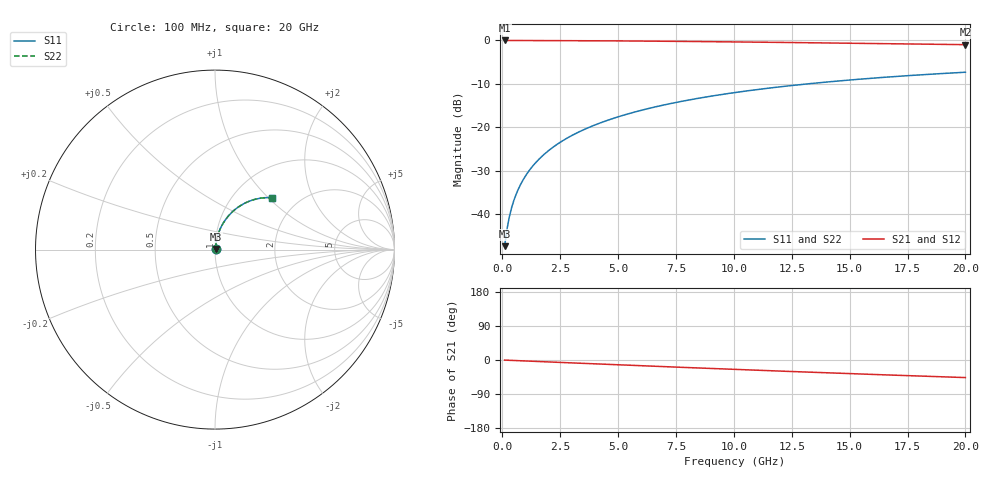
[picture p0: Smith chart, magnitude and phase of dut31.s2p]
! Touchstone file exported from HFSS 2026.1.0
!  File:  C:/ffzhzh/LocalFiles/Ansys_Project_Files/temp_train_BSMRDL_31_1782882198_42304.aedt
!  Generated:  01:04:31 PM Jul  1, 2026
!  Design:  BSMRDL
!  Project:  temp_train_BSMRDL_31_1782882198_42304
! Variables:
!  h_bsmrdl = 3.46um
!  h_ox = 20um
!  h_rdl = 5um
!  h_sub = 80um
!  h_tmrdl = 5um
!  h_tsv = 80um
!  h_via = 3um
!  l_bsmrdl = 671.32um
!  l_sub = 1071.32um
!  l_tmrdl = 200um
!  m_sub = 200um
!  pitch = 54.26um
!  r_tsv = 6um
!  s_tmrdl = 10um
!  w_bsmrdl = 23.3um
!  w_sub = 500um
!  w_tmrdl = 12um
!  x_tsv_center1 = 206um
!  x_tsv_center2 = 900.62um
!  x_tsv_center3 = 1112.62um
!  x_tsv_center4 = 1807.24um
!  x_tsv_center5 = 2019.24um
!  x_tsv_center6 = 2713.86um
# GHz S MA R 50.000000
! Terminal data exported
! Port[1] = BSM_RDL1_1_T1
! Port[2] = BSM_RDL1_1_T2
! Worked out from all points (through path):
!   200 points, 100 MHz to 20 GHz, reference 50 ohm
!   highest |S21| = -0.03 dB at 100 MHz (marker M1); lowest = -1.0 dB at 20 GHz (marker M2)
!   group delay of S21, straight-line fit = 6.45 ps
!   lowest |S11| = -47.3 dB at 100 MHz (marker M3), VSWR 1.01, Z = 50.3 + j0.295 ohm
!   |S11| at or under -10 dB: start of sweep to 13.19 GHz
!   |S22| runs from -47.3 to -7.3 dB; largest |S21 - S12| = 3.8e-15
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0.1  0.004315 42.8  0.9968 -0.3  0.9968 -0.3  0.004315 42.8
! Gamma 0 0 0 0
! Port Impedance 50 0 50 0
0.2  0.006687 59.9  0.9967 -0.5  0.9967 -0.5  0.006687 59.9
0.3  0.009269 67.2  0.9965 -0.8  0.9965 -0.8  0.009269 67.2
0.4  0.01188 71.2  0.9963 -1.0  0.9963 -1.0  0.01187 71.2
0.5  0.01448 73.7  0.9962 -1.3  0.9962 -1.3  0.01448 73.7
0.6  0.01709 75.5  0.9961 -1.6  0.9961 -1.6  0.01709 75.5
0.8  0.02233 77.7  0.9958 -2.1  0.9958 -2.1  0.02233 77.7
1.1  0.03025 79.4  0.9955 -2.8  0.9955 -2.8  0.03025 79.4
1.5  0.04085 80.2  0.995 -3.8  0.995 -3.8  0.04085 80.2
1.8  0.04881 80.3  0.9945 -4.6  0.9945 -4.6  0.04881 80.3
2.1  0.05677 80.1  0.994 -5.4  0.994 -5.4  0.05677 80.1
2.7  0.07263 79.4  0.9927 -6.9  0.9927 -6.9  0.07263 79.4
3.5  0.09359 78.0  0.9906 -8.9  0.9906 -8.9  0.09359 78.0
4.2  0.1117 76.6  0.9883 -10.7  0.9883 -10.7  0.1117 76.6
5  0.1321 74.8  0.9854 -12.6  0.9854 -12.6  0.1321 74.8
5.9  0.1546 72.8  0.9816 -14.9  0.9816 -14.9  0.1546 72.8
6.8  0.1766 70.7  0.9774 -17.1  0.9774 -17.1  0.1766 70.7
8.3  0.212 67.2  0.9695 -20.7  0.9695 -20.7  0.212 67.3
10.1  0.2524 63.1  0.959 -24.9  0.959 -24.9  0.2524 63.2
13.4  0.3202 55.8  0.9376 -32.4  0.9376 -32.4  0.3202 55.9
16.7  0.3795 48.9  0.9148 -39.6  0.9148 -39.6  0.3795 48.9
20  0.4301 42.2  0.892 -46.4  0.892 -46.4  0.4301 42.2
